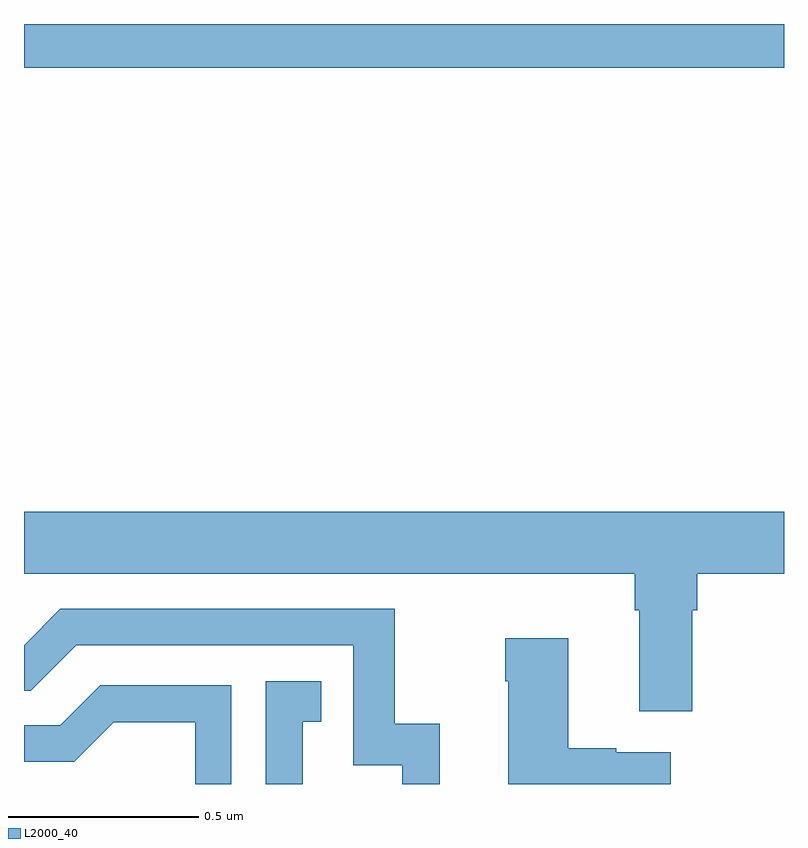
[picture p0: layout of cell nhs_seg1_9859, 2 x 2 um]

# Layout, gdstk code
import gdstk
lib = gdstk.Library(unit=1e-6, precision=1e-09)
def R(c, l, rs):  # rectangles x0, y0, x1, y1
    for r in rs: c.add(gdstk.rectangle(r[:2], r[2:], *l))
def P(c, l, *ps):  # polygons
    for p in ps: c.add(gdstk.Polygon(p, *l))
L2000_40 = (2000, 40)

nhs_seg1_9859 = lib.new_cell('nhs_seg1_9859')
R(nhs_seg1_9859, L2000_40, [(234,533.084,236,533.199)])
P(nhs_seg1_9859, L2000_40, [(235.759,531.656),(235.772,531.656),(235.772,531.752),(236,531.752),(236,531.916),(234,531.916),(234,531.752),(235.607,531.752),(235.607,531.656),(235.619,531.656),(235.619,531.39),(235.759,531.39)],
  [(235.094,531.358),(234.976,531.358),(234.976,531.66),(234.096,531.66),(234,531.564),(234,531.444),(234.018,531.444),(234.138,531.564),(234.867,531.564),(234.867,531.249),(234.996,531.249),(234.996,531.199),(235.094,531.199)],
  [(235.702,531.283),(235.559,531.283),(235.559,531.293),(235.432,531.293),(235.432,531.583),(235.267,531.583),(235.267,531.47),(235.274,531.47),(235.274,531.199),(235.702,531.199)],
  [(234.733,531.363),(234.782,531.363),(234.782,531.469),(234.636,531.469),(234.636,531.199),(234.733,531.199)],
  [(234.546,531.459),(234.2,531.459),(234.095,531.354),(234,531.354),(234,531.258),(234.132,531.258),(234.236,531.362),(234.45,531.362),(234.45,531.199),(234.546,531.199)])

lib.write_gds('nhs_seg1_9859.gds')
